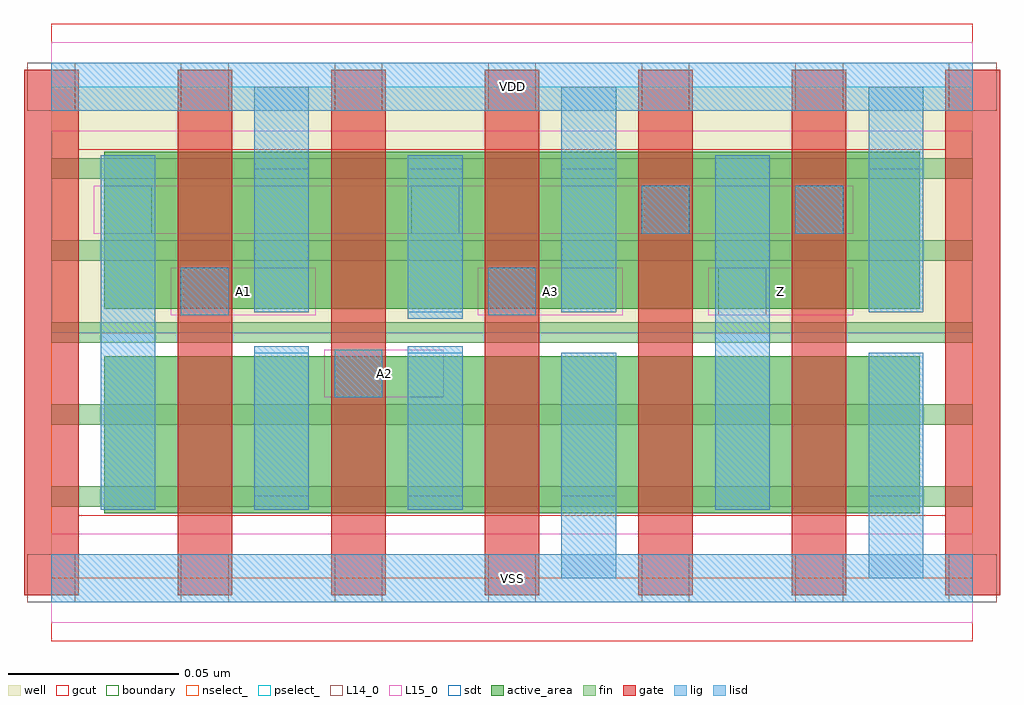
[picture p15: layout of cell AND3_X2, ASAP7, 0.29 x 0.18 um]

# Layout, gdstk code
import gdstk
lib = gdstk.Library(unit=1e-6, precision=2.5e-10)
def R(c, l, rs):  # rectangles x0, y0, x1, y1
    for r in rs: c.add(gdstk.rectangle(r[:2], r[2:], *l))
def A(c, l, x, y, w, h, nx, ny, dx, dy):  # array of equal rectangles
    R(c, l, [(x+i*dx, y+j*dy, x+i*dx+w, y+j*dy+h) for i in range(nx) for j in range(ny)])
well = (1, 0)
fin = (2, 0)
gate = (7, 0)
gcut = (10, 0)
active_area = (11, 0)
nselect_ = (12, 0)
pselect_ = (13, 0)
L14_0 = (14, 0)
L15_0 = (15, 0)
lig = (16, 0)
lisd = (17, 0)
sdt = (88, 0)
boundary = (100, 0)

and3_x2 = lib.new_cell('AND3_X2')
R(and3_x2, well, [(0,0.072,0.27,0.144)])
A(and3_x2, fin, 0, 0.021, 0.27, 0.006, 1, 5, 0, 0.024)
A(and3_x2, gate, -0.008, -0.005, 0.016, 0.154, 7, 1, 0.045, 0)
R(and3_x2, gcut, [(0,-0.0185,0.27,0.0185), (-0.008,-0.005,0.008,0.149), (0.262,-0.005,0.278,0.149), (0,0.1255,0.27,0.1625)])
A(and3_x2, active_area, 0.0155, 0.019, 0.059, 0.046, 5, 2, 0.045, 0.06)
R(and3_x2, nselect_, [(0,0,0.27,0.072)])
R(and3_x2, pselect_, [(0,0.072,0.27,0.144)])
A(and3_x2, L14_0, -0.007, -0.007, 0.014, 0.014, 7, 2, 0.045, 0.144)
R(and3_x2, L14_0, [(0.083,0.053,0.097,0.067), (0.038,0.077,0.052,0.091), (0.128,0.077,0.142,0.091), (0.1955,0.077,0.2095,0.091), (0.0155,0.101,0.0295,0.115), (0.1055,0.101,0.1195,0.115), (0.173,0.101,0.187,0.115), (0.218,0.101,0.232,0.115)])
R(and3_x2, L15_0, [(0,-0.013,0.27,0.013), (0.08,0.053,0.115,0.067), (0.035,0.077,0.0775,0.091), (0.125,0.077,0.1675,0.091), (0.1925,0.077,0.235,0.091), (0.0125,0.101,0.235,0.115), (0,0.131,0.27,0.157)])
R(and3_x2, lig, [(0,-0.007,0.27,0.007), (0.083,0.053,0.097,0.067), (0.038,0.077,0.052,0.091), (0.128,0.077,0.142,0.091), (0.173,0.101,0.187,0.115), (0.218,0.101,0.232,0.115), (0,0.137,0.27,0.151)])
R(and3_x2, lisd, [(0.1495,0,0.1655,0.066), (0.1495,0,0.1655,0.066), (0.2395,0,0.2555,0.066), (0.0145,0.02,0.0305,0.124), (0.0595,0.02,0.0755,0.068), (0.0595,0.02,0.0755,0.068), (0.1045,0.02,0.1205,0.068), (0.1045,0.02,0.1205,0.068), (0.1945,0.02,0.2105,0.124), (0.1945,0.02,0.2105,0.124), (0.1045,0.076,0.1205,0.124), (0.1045,0.076,0.1205,0.124), (0.0595,0.078,0.0755,0.144), (0.0595,0.078,0.0755,0.144), (0.1495,0.078,0.1655,0.144), (0.1495,0.078,0.1655,0.144), (0.2395,0.078,0.2555,0.144)])
R(and3_x2, sdt, [(0.0145,0.02,0.0305,0.124), (0.1945,0.02,0.2105,0.124), (0.1945,0.02,0.2105,0.124), (0.0595,0.024,0.0755,0.066), (0.0595,0.024,0.0755,0.066), (0.1045,0.024,0.1205,0.066), (0.1045,0.024,0.1205,0.066), (0.1495,0.024,0.1655,0.066), (0.1495,0.024,0.1655,0.066), (0.2395,0.024,0.2555,0.066), (0.0595,0.078,0.0755,0.12), (0.0595,0.078,0.0755,0.12), (0.1045,0.078,0.1205,0.12), (0.1045,0.078,0.1205,0.12), (0.1495,0.078,0.1655,0.12), (0.1495,0.078,0.1655,0.12), (0.2395,0.078,0.2555,0.12)])
R(and3_x2, boundary, [(0,0,0.27,0.144)])
and3_x2.add(gdstk.Label('VDD', (0.135,0.144), layer=1, texttype=251))
and3_x2.add(gdstk.Label('VSS', (0.135,0), layer=3, texttype=251))
and3_x2.add(gdstk.Label('A1', (0.0563,0.084), layer=15, texttype=251))
and3_x2.add(gdstk.Label('A2', (0.0975,0.06), layer=15, texttype=251))
and3_x2.add(gdstk.Label('A3', (0.1462,0.084), layer=15, texttype=251))
and3_x2.add(gdstk.Label('Z', (0.2137,0.084), layer=15, texttype=251))
and3_x2.add(gdstk.Label('VSS', (0.135,0), layer=15, texttype=251))
and3_x2.add(gdstk.Label('VDD', (0.135,0.144), layer=15, texttype=251))

lib.write_gds('AND3_X2.gds')
